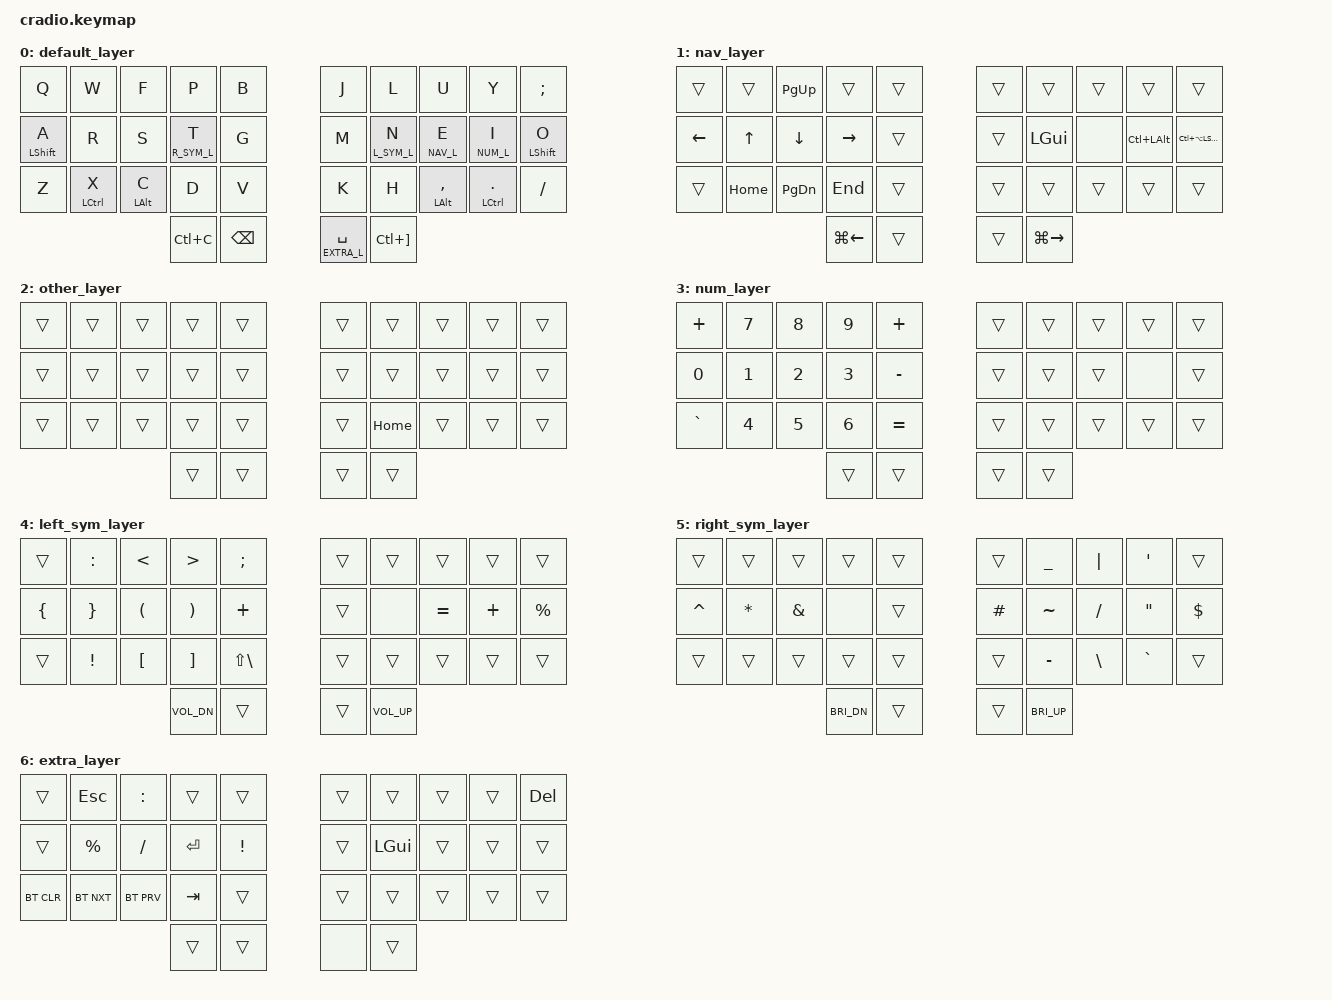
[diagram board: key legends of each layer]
/*
 * Copyright (c) 2020 The ZMK Contributors
 *
 * SPDX-License-Identifier: MIT
 */

#include <behaviors.dtsi>
#include <dt-bindings/zmk/keys.h>
#include <dt-bindings/zmk/bt.h>

#define NAV_L 1
#define OTHER_L 2
#define NUM_L 3
#define L_SYM_L 4
#define R_SYM_L 5
#define EXTRA_L 6

// Using layer taps on thumbs, having quick tap as well helps w/ repeating space/backspace
&lt { quick_tap_ms = <200>; };

/ {
    behaviors {
        hm: homerow_mods {
            compatible = "zmk,behavior-hold-tap";
            label = "homerow mods";
            #binding-cells = <2>;
            tapping_term_ms = <200>;
            flavor = "tap-preferred";
            bindings = <&kp>, <&kp>;
        };
    };

    keymap {
        compatible = "zmk,keymap";

        default_layer {
            bindings = <
                &kp Q       &kp W       &kp F       &kp P           &kp B         &kp J             &kp L          &kp U          &kp Y        &kp SEMICOLON
                &hm LSHFT A &kp R       &kp S       &lt R_SYM_L T   &kp G         &kp M             &lt L_SYM_L N  &lt NAV_L E    &lt NUM_L I  &hm LSHFT O
                &kp Z       &hm LCTRL X &hm LALT C  &kp D           &kp V         &kp K             &kp H          &hm LALT COMMA &hm LCTL DOT &kp FSLH
                                                    &kp LC(C)  &kp BKSP      &lt EXTRA_L SPACE &kp LC(RBKT)
            >;
        };

        nav_layer {
            bindings = <
                &trans     &trans     &kp PG_UP     &trans          &trans       &trans            &trans         &trans       &trans       &trans
                &kp LEFT   &kp UP     &kp DOWN      &kp RIGHT       &trans       &trans            &kp LGUI       &none        &kp LC(LALT) &kp LC(LA(LSHFT))
                &trans     &kp HOME   &kp PG_DN     &kp END         &trans       &trans            &trans         &trans       &trans       &trans
                                                    &kp LG(LEFT)    &trans       &trans            &kp LG(RIGHT)
            >;
        };

        other_layer {
            bindings = <
                &trans     &trans     &trans        &trans          &trans       &trans            &trans         &trans      &trans     &trans
                &trans     &trans     &trans        &trans          &trans       &trans            &trans         &trans      &trans     &trans
                &trans     &trans     &trans        &trans          &trans       &trans            &kp HOME       &trans      &trans     &trans
                                                    &trans          &trans       &trans            &trans
            >;
        };

        num_layer {
            bindings = <
                &kp PLUS   &kp N7     &kp N8        &kp N9          &kp PLUS      &trans           &trans         &trans      &trans     &trans
                &kp N0     &kp N1     &kp N2        &kp N3          &kp MINUS     &trans           &trans         &trans      &none      &trans
                &kp GRAVE  &kp N4     &kp N5        &kp N6          &kp EQL       &trans           &trans         &trans      &trans     &trans
                                                    &trans          &trans        &trans           &trans
            >;
        };

        left_sym_layer {
            bindings = <
                &trans     &kp COLON   &kp LT       &kp GT          &kp SEMI       &trans          &trans         &trans      &trans     &trans
                &kp LBRC   &kp RBRC    &kp LPAR     &kp RPAR        &kp PLUS       &trans          &none          &kp EQUAL   &kp PLUS   &kp PERCENT
                &trans     &kp EXCL    &kp LBKT     &kp RBKT        &kp LS(BSLH)   &trans          &trans         &trans      &trans     &trans
                                                    &kp C_VOL_DN    &trans       &trans            &kp C_VOL_UP
            >;
        };

        right_sym_layer {
            bindings = <
				&trans     &trans     &trans        &trans          &trans       &trans            &kp UNDER      &kp PIPE    &kp SQT    &trans
                &kp CARET  &kp STAR   &kp AMPS      &none           &trans       &kp HASH          &kp TILDE      &kp FSLH    &kp DQT    &kp DOLLAR
                &trans     &trans     &trans        &trans          &trans       &trans            &kp MINUS      &kp BSLH    &kp GRAVE  &trans
                                                    &kp C_BRI_DN    &trans       &trans            &kp C_BRI_UP
            >;
        };

       extra_layer {
            bindings = <
                &trans     &kp ESC      &kp COLON   &trans          &trans       &trans            &trans         &trans      &trans     &kp DEL
                &trans     &kp PERCENT  &kp FSLH    &kp RET         &kp EXCL     &trans            &kp LGUI       &trans      &trans     &trans
                &bt BT_CLR &bt BT_NXT   &bt BT_PRV  &kp TAB         &trans       &trans            &trans         &trans      &trans     &trans
                                                    &trans          &trans       &none             &trans
            >;
        };

    };
};
